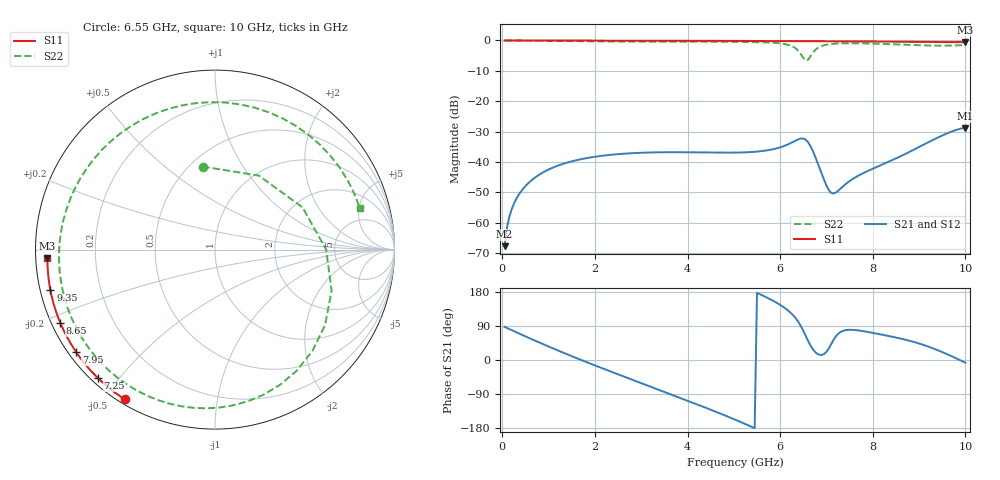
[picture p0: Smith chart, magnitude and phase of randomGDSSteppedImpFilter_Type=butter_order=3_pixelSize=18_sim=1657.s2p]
! freq	dB(S11)	phase(S11)	dB(S12)	phase(S12)
!  dB(S21)	phase(S21)	dB(S22)	phase(S22)
!S-par simulation data
#  GHz  S  DB  R 50
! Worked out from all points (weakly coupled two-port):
!   200 points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, 50 MHz to 10 GHz, reference 50 ohm
!   highest |S21| = -28.88 dB at 10 GHz (marker M1); lowest = -67.7 dB at 50 MHz (marker M2)
!   lowest |S11| = -0.6 dB at 10 GHz (marker M3), VSWR 29.66, Z = 1.69 - j1.28 ohm
!   |S11| at or under -10 dB: nowhere
!   |S22| runs from -6.6 to 0.0 dB; largest |S21 - S12| = 0
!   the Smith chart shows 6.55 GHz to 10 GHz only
!   S11 on the Smith chart (normalised r, x): 6.55 GHz: 0.02, -0.57; 7.25 GHz: 0.02, -0.44; 7.95 GHz: 0.02, -0.33; 8.65 GHz: 0.02, -0.22; 9.35 GHz: 0.03, -0.12; 10 GHz: 0.03, -0.03
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0.05  -0.00 -1.0  -67.72 87.3  -67.72 87.3  -0.00 -4.5
0.3  -0.01 -6.2  -52.24 73.3  -52.24 73.3  -0.04 -27.0
0.9  -0.02 -18.5  -43.26 40.9  -43.26 40.9  -0.13 -80.0
1.75  -0.05 -35.5  -38.93 -2.2  -38.93 -2.2  -0.27 -152.2
2.45  -0.06 -49.2  -37.49 -35.5  -37.49 -35.5  -0.35 150.4
2.95  -0.08 -58.7  -37.00 -58.6  -37.00 -58.6  -0.39 110.6
3.4  -0.09 -67.1  -36.81 -79.3  -36.81 -79.3  -0.41 76.0
4.25  -0.12 -82.4  -36.85 -119.1  -36.85 -119.1  -0.42 15.6
5.05  -0.15 -96.2  -36.92 -158.6  -36.92 -158.6  -0.46 -35.3
5.65  -0.18 -106.3  -36.33 168.6  -36.33 168.6  -0.63 -74.0
6.05  -0.20 -112.9  -34.94 141.5  -34.94 141.5  -1.06 -108.1
6.25  -0.21 -116.2  -33.63 121.9  -33.63 121.9  -1.84 -136.5
6.4  -0.22 -118.6  -32.50 99.2  -32.50 99.2  -3.53 -175.9
6.55  -0.23 -121.0  -32.63 64.3  -32.63 64.3  -6.60 98.5
6.7  -0.24 -123.5  -36.21 29.4  -36.21 29.4  -4.16 0.0
6.9  -0.25 -126.7  -43.96 13.2  -43.96 13.2  -1.79 -56.1
7.25  -0.28 -132.3  -49.51 68.7  -49.51 68.7  -1.01 -97.8
7.95  -0.34 -143.5  -42.57 72.7  -42.57 72.7  -1.02 -147.8
8.35  -0.38 -149.9  -39.90 63.2  -39.90 63.2  -1.20 -175.8
8.65  -0.41 -154.7  -37.76 55.1  -37.76 55.1  -1.37 160.7
9.35  -0.50 -166.1  -32.36 28.4  -32.36 28.4  -1.70 91.7
10  -0.59 -177.1  -28.88 -7.2  -28.88 -7.2  -1.52 16.1
